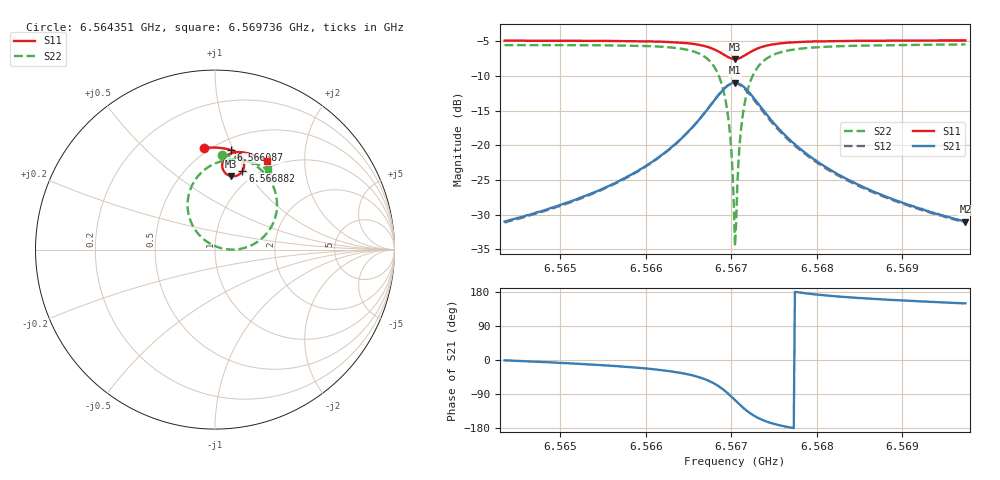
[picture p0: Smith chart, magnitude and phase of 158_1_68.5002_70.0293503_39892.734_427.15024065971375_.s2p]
#  HZ  S  RI  R  50.00
! Rohde & Schwarz Vector Network Analyzer
! Rohde-Schwarz,ZNB20-2Port,1311601062101988,3.16
! Created: UTC 3/20/2024, 4:55:40 PM
! freq[Hz]  re:S11  im:S11  re:S21  im:S21  re:S12  im:S12  re:S22  im:S22
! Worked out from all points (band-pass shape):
!   401 points, 6.564351 GHz to 6.569736 GHz, reference 50 ohm
!   highest |S21| = -10.96 dB at 6.567043 GHz (marker M1); lowest = -31.0 dB at 6.569736 GHz (marker M2)
!   |S21| within 3 dB of the highest: 6.566773 GHz to 6.567312 GHz (538.7 kHz wide, 0.0082 % of centre)
!   lowest |S11| = -7.6 dB at 6.567043 GHz (marker M3), VSWR 2.44, Z = 41.2 + j41 ohm
!   |S11| at or under -10 dB: nowhere
!   |S22| runs from -34.5 to -5.4 dB; largest |S21 - S12| = 0.014
!   S11 on the Smith chart (normalised r, x): 6.564351 GHz: 0.47, +0.78; 6.566087 GHz: 0.60, +0.98; 6.566882 GHz: 0.86, +0.96; 6.569736 GHz: 0.91, +1.32
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6.5643506e9  -0.063 0.5658  0.0283 -0.000404  0.0277 -0.000857  0.0382 0.5268
6.5652526e9  0.0111 0.5679  0.0416 -0.00781  0.0408 -0.00834  0.1245 0.513
6.5660873e9  0.0894 0.5543  0.0702 -0.0316  0.0692 -0.0325  0.2339 0.4626
6.5661546e9  0.0965 0.5517  0.0741 -0.036  0.0731 -0.037  0.2457 0.4537
6.5664508e9  0.1308 0.5322  0.0953 -0.0688  0.0938 -0.0702  0.3047 0.3888
6.5666527e9  0.1546 0.5035  0.1088 -0.119  0.1064 -0.1213  0.3423 0.2919
6.5667874e9  0.1624 0.4692  0.1013 -0.179  0.0969 -0.1825  0.3349 0.177
6.5668816e9  0.153 0.4375  0.0679 -0.2335  0.0601 -0.2365  0.2746 0.0751
6.5669624e9  0.1269 0.4141  0.00647 -0.2712  -0.00486 -0.2712  0.1613 0.00859
6.5669893e9  0.1147 0.4098  -0.0204 -0.2768  -0.0324 -0.2751  0.1125 0.000512
6.5670297e9  0.0944 0.4086  -0.0633 -0.2755  -0.0754 -0.2704  0.0359 0.00738
6.5670432e9  0.0877 0.4097  -0.0776 -0.2723  -0.0893 -0.2661  0.0113 0.015
6.5670566e9  0.0811 0.4115  -0.0912 -0.2676  -0.1028 -0.2604  -0.0126 0.0251
6.5670701e9  0.0748 0.414  -0.1046 -0.2615  -0.1154 -0.2534  -0.0349 0.0374
6.567097e9  0.0633 0.4212  -0.1285 -0.2459  -0.1378 -0.2362  -0.0747 0.0679
6.5671374e9  0.0503 0.4355  -0.1564 -0.2167  -0.1629 -0.2054  -0.1188 0.1234
6.5671913e9  0.0412 0.4573  -0.1776 -0.1732  -0.1804 -0.1617  -0.1483 0.2022
6.5672586e9  0.0414 0.4827  -0.1835 -0.1235  -0.183 -0.1134  -0.1494 0.2893
6.5675009e9  0.0786 0.531  -0.141 -0.028  -0.1378 -0.0237  -0.052 0.4497
6.5679452e9  0.1415 0.5431  -0.0806 0.00845  -0.0787 0.00974  0.0848 0.5004
6.5688472e9  0.2258 0.5227  -0.0391 0.0151  -0.0382 0.0153  0.2154 0.4827
6.5697358e9  0.2917 0.4911  -0.0243 0.0143  -0.0237 0.0144  0.2936 0.4466
